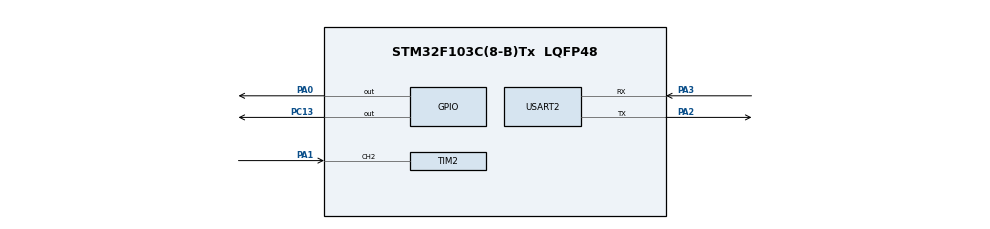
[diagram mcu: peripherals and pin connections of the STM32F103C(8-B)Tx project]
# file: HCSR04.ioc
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Mcu.Family=STM32F1
Mcu.Name=STM32F103C(8-B)Tx
Mcu.Package=LQFP48
NVIC.PriorityGroup=NVIC_PRIORITYGROUP_4
NVIC.TIM2_IRQn=true\:0\:0\:false\:false\:true\:true\:true\:true
PA0-WKUP.PinState=GPIO_PIN_RESET
PA0-WKUP.Signal=GPIO_Output
PA1.Signal=S_TIM2_CH2
PA2.Mode=Asynchronous
PA2.Signal=USART2_TX
PA3.Mode=Asynchronous
PA3.Signal=USART2_RX
PC13-TAMPER-RTC.GPIO_ModeDefaultOutputPP=GPIO_MODE_OUTPUT_OD
PC13-TAMPER-RTC.GPIO_PuPd=GPIO_NOPULL
PC13-TAMPER-RTC.PinState=GPIO_PIN_SET
PC13-TAMPER-RTC.Signal=GPIO_Output
ProjectManager.HeapSize=0x200
ProjectManager.StackSize=0x400
ProjectManager.TargetToolchain=STM32CubeIDE
RCC.APB1Freq_Value=8000000
RCC.APB2Freq_Value=8000000
SH.S_TIM2_CH2.0=TIM2_CH2,Input_Capture2_from_TI2
TIM2.Channel-Input_Capture2_from_TI2=TIM_CHANNEL_2
TIM2.Prescaler=71
USART2.VirtualMode=VM_ASYNC
VP_SYS_VS_ND.Mode=No_Debug
VP_TIM2_VS_ClockSourceINT.Mode=Internal
board=custom

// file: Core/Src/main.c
/* USER CODE BEGIN Header */
/**
  ******************************************************************************
  * @file           : main.c
  * @brief          : Main program body
  ******************************************************************************
  * @attention
  *
  * Copyright (c) 2026 STMicroelectronics.
  * All rights reserved.
  *
  * This software is licensed under terms that can be found in the LICENSE file
  * in the root directory of this software component.
  * If no LICENSE file comes with this software, it is provided AS-IS.
  *
  ******************************************************************************
  */
/* USER CODE END Header */
#include "main.h"

/* USER CODE BEGIN Includes */
#include "string.h"
#include "stdio.h"
/* USER CODE END Includes */

TIM_HandleTypeDef htim2;

UART_HandleTypeDef huart2;

/* USER CODE BEGIN PV */
static volatile uint32_t echo_start = 0; // 回波信号起始时的捕获值
static volatile uint32_t echo_end   = 0; // 回波信号结束时的捕获值
static volatile uint8_t  capture_done = 0; // 回波采样结束标记

static char buf[64]; // 串口打印缓冲区
static float distance = 0; // 储存距离值
/* USER CODE END PV */

void SystemClock_Config(void);
static void MX_GPIO_Init(void);
static void MX_USART2_UART_Init(void);
static void MX_TIM2_Init(void);
/* USER CODE BEGIN PFP */
/* 发送 Trig 脉冲 */
void HC_SR04_Trigger(void)
{
    HAL_GPIO_WritePin(GPIOA, GPIO_PIN_0, GPIO_PIN_SET); // GPIO 拉高
    uint32_t tick = SysTick->VAL;
    while ((tick - SysTick->VAL) < 720) {}   /* 发射脉冲时长约 10us @72MHz */
    HAL_GPIO_WritePin(GPIOA, GPIO_PIN_0, GPIO_PIN_RESET); // GPIO 复原
}

/* 定时器输入捕获回调 */
void HAL_TIM_IC_CaptureCallback(TIM_HandleTypeDef *htim)
{
    if (htim->Channel == HAL_TIM_ACTIVE_CHANNEL_2) {
        if (!capture_done) {
            if (echo_start == 0) {
                echo_start = HAL_TIM_ReadCapturedValue(htim, TIM_CHANNEL_2);
                /* 切换为下降沿捕获 */
                __HAL_TIM_SET_CAPTUREPOLARITY(htim, TIM_CHANNEL_2,
                                               TIM_INPUTCHANNELPOLARITY_FALLING);
            } else {
                echo_end = HAL_TIM_ReadCapturedValue(htim, TIM_CHANNEL_2);
                capture_done = 1;
                /* 恢复上升沿捕获 */
                __HAL_TIM_SET_CAPTUREPOLARITY(htim, TIM_CHANNEL_2,
                                               TIM_INPUTCHANNELPOLARITY_RISING);
            }
        }
    }
}

/* 获取距离（单位：cm） */
float HC_SR04_GetDistance(void)
{
    echo_start = 0;
    echo_end   = 0;
    capture_done = 0;

    HAL_TIM_IC_Start_IT(&htim2, TIM_CHANNEL_2);
    HC_SR04_Trigger();

    uint32_t timeout = HAL_GetTick();
    while (!capture_done && (HAL_GetTick() - timeout < 50)) {}

    HAL_TIM_IC_Stop_IT(&htim2, TIM_CHANNEL_2);

    if (!capture_done) return -1.0f;  /* 超时 */

    uint32_t pulse_us = (echo_end >= echo_start)
                        ? (echo_end - echo_start)
                        : (65536 - echo_start + echo_end); // 计算脉宽，根据起始和结束的捕获值判断计时器是否溢出，溢出了做额外处理。
    return (float)pulse_us * 0.034f / 2.0f;  /* cm */ // 根据脉宽计算距离
}
/* USER CODE END PFP */

int main(void)
{

  /* MCU Configuration--------------------------------------------------------*/

  /* Reset of all peripherals, Initializes the Flash interface and the Systick. */
  HAL_Init();

  /* Configure the system clock */
  SystemClock_Config();

  /* Initialize all configured peripherals */
  MX_GPIO_Init();
  MX_USART2_UART_Init();
  MX_TIM2_Init();
  /* USER CODE BEGIN 2 */

  HAL_TIM_Base_Start(&htim1);
  /* USER CODE END 2 */

  /* Infinite loop */
  /* USER CODE BEGIN WHILE */
  while(1){
      HC_SR04_Trigger();
      distance = HC_SR04_GetDistance();
      sprintf(buf, "Distance: %.2f cm\n", distance);
  	HAL_UART_Transmit(&huart2, buf, strlen(buf), HAL_MAX_DELAY);
      HAL_Delay(1000);
    /* USER CODE END WHILE */

  }
}

void SystemClock_Config(void)
{
  RCC_OscInitTypeDef RCC_OscInitStruct = {0};
  RCC_ClkInitTypeDef RCC_ClkInitStruct = {0};

  /** Initializes the RCC Oscillators according to the specified parameters
  * in the RCC_OscInitTypeDef structure.
  */
  RCC_OscInitStruct.OscillatorType = RCC_OSCILLATORTYPE_HSI;
  RCC_OscInitStruct.HSIState = RCC_HSI_ON;
  RCC_OscInitStruct.HSICalibrationValue = RCC_HSICALIBRATION_DEFAULT;
  RCC_OscInitStruct.PLL.PLLState = RCC_PLL_NONE;
  if (HAL_RCC_OscConfig(&RCC_OscInitStruct) != HAL_OK)
  {
    Error_Handler();
  }

  /** Initializes the CPU, AHB and APB buses clocks
  */
  RCC_ClkInitStruct.ClockType = RCC_CLOCKTYPE_HCLK|RCC_CLOCKTYPE_SYSCLK
                              |RCC_CLOCKTYPE_PCLK1|RCC_CLOCKTYPE_PCLK2;
  RCC_ClkInitStruct.SYSCLKSource = RCC_SYSCLKSOURCE_HSI;
  RCC_ClkInitStruct.AHBCLKDivider = RCC_SYSCLK_DIV1;
  RCC_ClkInitStruct.APB1CLKDivider = RCC_HCLK_DIV1;
  RCC_ClkInitStruct.APB2CLKDivider = RCC_HCLK_DIV1;

  if (HAL_RCC_ClockConfig(&RCC_ClkInitStruct, FLASH_LATENCY_0) != HAL_OK)
  {
    Error_Handler();
  }
}

static void MX_TIM2_Init(void)
{

  TIM_ClockConfigTypeDef sClockSourceConfig = {0};
  TIM_MasterConfigTypeDef sMasterConfig = {0};
  TIM_IC_InitTypeDef sConfigIC = {0};

  htim2.Instance = TIM2;
  htim2.Init.Prescaler = 71;
  htim2.Init.CounterMode = TIM_COUNTERMODE_UP;
  htim2.Init.Period = 65535;
  htim2.Init.ClockDivision = TIM_CLOCKDIVISION_DIV1;
  htim2.Init.AutoReloadPreload = TIM_AUTORELOAD_PRELOAD_DISABLE;
  if (HAL_TIM_Base_Init(&htim2) != HAL_OK)
  {
    Error_Handler();
  }
  sClockSourceConfig.ClockSource = TIM_CLOCKSOURCE_INTERNAL;
  if (HAL_TIM_ConfigClockSource(&htim2, &sClockSourceConfig) != HAL_OK)
  {
    Error_Handler();
  }
  if (HAL_TIM_IC_Init(&htim2) != HAL_OK)
  {
    Error_Handler();
  }
  sMasterConfig.MasterOutputTrigger = TIM_TRGO_RESET;
  sMasterConfig.MasterSlaveMode = TIM_MASTERSLAVEMODE_DISABLE;
  if (HAL_TIMEx_MasterConfigSynchronization(&htim2, &sMasterConfig) != HAL_OK)
  {
    Error_Handler();
  }
  sConfigIC.ICPolarity = TIM_INPUTCHANNELPOLARITY_RISING;
  sConfigIC.ICSelection = TIM_ICSELECTION_DIRECTTI;
  sConfigIC.ICPrescaler = TIM_ICPSC_DIV1;
  sConfigIC.ICFilter = 0;
  if (HAL_TIM_IC_ConfigChannel(&htim2, &sConfigIC, TIM_CHANNEL_2) != HAL_OK)
  {
    Error_Handler();
  }

}

static void MX_USART2_UART_Init(void)
{

  huart2.Instance = USART2;
  huart2.Init.BaudRate = 115200;
  huart2.Init.WordLength = UART_WORDLENGTH_8B;
  huart2.Init.StopBits = UART_STOPBITS_1;
  huart2.Init.Parity = UART_PARITY_NONE;
  huart2.Init.Mode = UART_MODE_TX_RX;
  huart2.Init.HwFlowCtl = UART_HWCONTROL_NONE;
  huart2.Init.OverSampling = UART_OVERSAMPLING_16;
  if (HAL_UART_Init(&huart2) != HAL_OK)
  {
    Error_Handler();
  }

}

static void MX_GPIO_Init(void)
{
  GPIO_InitTypeDef GPIO_InitStruct = {0};

  /* GPIO Ports Clock Enable */
  __HAL_RCC_GPIOC_CLK_ENABLE();
  __HAL_RCC_GPIOA_CLK_ENABLE();

  /*Configure GPIO pin Output Level */
  HAL_GPIO_WritePin(GPIOC, GPIO_PIN_13, GPIO_PIN_SET);

  /*Configure GPIO pin Output Level */
  HAL_GPIO_WritePin(GPIOA, GPIO_PIN_0, GPIO_PIN_RESET);

  /*Configure GPIO pin : PC13 */
  GPIO_InitStruct.Pin = GPIO_PIN_13;
  GPIO_InitStruct.Mode = GPIO_MODE_OUTPUT_OD;
  GPIO_InitStruct.Pull = GPIO_NOPULL;
  GPIO_InitStruct.Speed = GPIO_SPEED_FREQ_LOW;
  HAL_GPIO_Init(GPIOC, &GPIO_InitStruct);

  /*Configure GPIO pin : PA0 */
  GPIO_InitStruct.Pin = GPIO_PIN_0;
  GPIO_InitStruct.Mode = GPIO_MODE_OUTPUT_PP;
  GPIO_InitStruct.Pull = GPIO_NOPULL;
  GPIO_InitStruct.Speed = GPIO_SPEED_FREQ_LOW;
  HAL_GPIO_Init(GPIOA, &GPIO_InitStruct);

}

void Error_Handler(void)
{
  __disable_irq();
  while (1)
  {
  }
}
